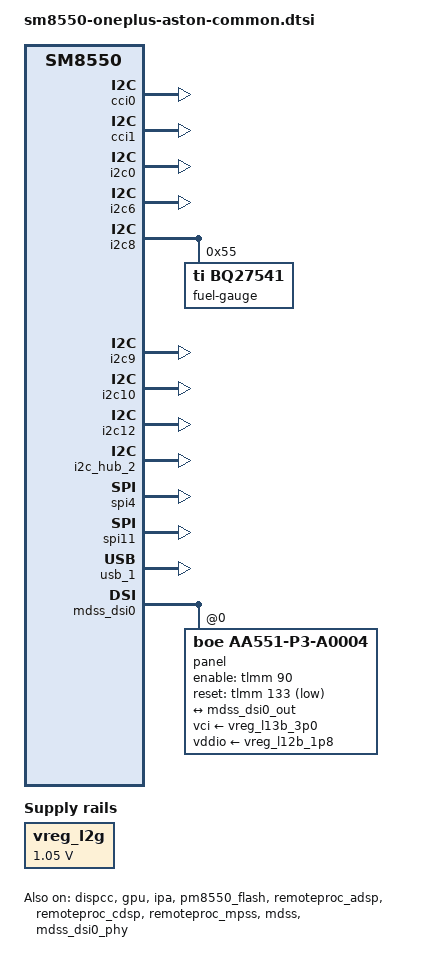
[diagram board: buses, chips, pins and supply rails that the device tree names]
// SPDX-License-Identifier: BSD-3-Clause
/*
 * Copyright (c) 2026, inferno0230 <mail@inferno0230.in>
 */

#include "sm8550-oneplus-common.dtsi"

/ {
	compatible = "oneplus,aston", "qcom,sm8550";
};

&dispcc {
	status = "okay";
};

&gpu {
	status = "okay";
};

&gpu_zap_shader {
	firmware-name = "qcom/sm8550/OnePlus/aston/a740_zap.mbn";
};

&cci0 {
	status = "okay";
};

&cci0_i2c0 {
	/* Main camera: Sony IMX890, EEPROM, actuator and BU63169 OIS */
};

&cci0_i2c1 {
	/* Ultra-wide camera: Sony IMX355 and EEPROM */
};

&cci1 {
	/* Master 1: Samsung S5K3P9 front camera and EEPROM on the unmodelled AON CCI bus */
	status = "okay";
};

&cci1_i2c0 {
	/* Macro camera: OmniVision OV02B and EEPROM */
};

&i2c0 {
	/* NXP SN220T/SN220U NFC controller @ 0x28 */
	status = "okay";
};

&i2c6 {
	/* NXP TFA9874 speaker amplifier (Top speaker) @ 0x34 */
	/* NXP TFA9874 speaker amplifier (Bottom speaker) @ 0x35 */
	status = "okay";
};

&i2c8 {
	status = "okay";

	fuel-gauge@55 {
		compatible = "ti,bq27541";
		reg = <0x55>;
	};
};

&i2c9 {
	/* AKM AK09970 three-axis Hall sensor for the 
     * Alert Slider @ 0x10 */
	status = "okay";
};

&i2c10 {
	/* Pixelworks iris display processor @ 0x26, 0x22 */
	status = "okay";
};

&i2c12 {
	/* Southchip SC8517 charge pump @ 0x69 */
	status = "okay";
};

&i2c_hub_2 {
	/* Richwave RTC6226 FM receiver @ 0x64 */
	status = "okay";
};

&ipa {
	qcom,gsi-loader = "self";
	memory-region = <&ipa_fw_mem>;
	firmware-name = "qcom/sm8550/OnePlus/aston/ipa_fws.mbn";
	status = "okay";
};

&pcieport0 {
	wifi@0 {
		status = "disabled";
	};
};

&pm8550_flash {
	status = "okay";

	led-0 {
		function = LED_FUNCTION_FLASH;
		color = <LED_COLOR_ID_WHITE>;
		led-sources = <1>, <4>;
		led-max-microamp = <500000>;
		flash-max-microamp = <1000000>;
		flash-max-timeout-us = <1280000>;
		function-enumerator = <0>;
	};
};

&remoteproc_adsp {
	firmware-name = "qcom/sm8550/OnePlus/aston/adsp.mbn",
			"qcom/sm8550/OnePlus/aston/adsp_dtb.mbn";
	status = "okay";
};

&remoteproc_cdsp {
	firmware-name = "qcom/sm8550/OnePlus/aston/cdsp.mbn",
			"qcom/sm8550/OnePlus/aston/cdsp_dtb.mbn";
	status = "okay";
};

&remoteproc_mpss {
	firmware-name = "qcom/sm8550/OnePlus/aston/modem.mbn",
			"qcom/sm8550/OnePlus/aston/modem_dtb.mbn";
	status = "okay";
};

&spi4 {
	/* Synaptics S3910 HBP touchscreen */
	status = "okay";
};

&spi11 {
	/* Kookong consumer IR controller */
	status = "okay";
};

&usb_1 {
	/* Only USB2.0 is supported. */
	maximum-speed = "high-speed";
	phy-names = "usb2-phy";
	qcom,select-utmi-as-pipe-clk;

	status = "okay";
};

&usb_dp_qmpphy {
	status = "disabled";
};

&mdss {
	status = "okay";
};

&mdss_dsi0 {
	status = "okay";

	panel@0 {
		compatible = "boe,aa551-p3-a0004";
		reg = <0>;

		pinctrl-0 = <&sde_dsi_active>, <&sde_te>;
		pinctrl-1 = <&sde_dsi_suspend>, <&sde_te>;
		pinctrl-names = "default", "sleep";

		enable-gpios = <&tlmm 90 GPIO_ACTIVE_HIGH>;
		reset-gpios = <&tlmm 133 GPIO_ACTIVE_LOW>;

		vci-supply = <&vreg_l13b_3p0>;
		vddio-supply = <&vreg_l12b_1p8>;

		port {
			panel_in: endpoint {
				remote-endpoint = <&mdss_dsi0_out>;
			};
		};
	};
};

&mdss_dsi0_out {
	remote-endpoint = <&panel_in>;
};

&mdss_dsi0_phy {
	status = "okay";
};

&tlmm {
	sde_dsi_active: sde-dsi-active-state {
		pins = "gpio133";
		function = "gpio";
		drive-strength = <8>;
		bias-disable;
	};

	sde_dsi_suspend: sde-dsi-suspend-state {
		pins = "gpio133";
		function = "gpio";
		drive-strength = <2>;
		bias-pull-down;
	};

	sde_te: sde-te-state {
		pins = "gpio86";
		function = "mdp_vsync";
		drive-strength = <2>;
		bias-pull-down;
	};
};

&vreg_l2g {
    regulator-name = "vreg_l2g_1p05";
    regulator-min-microvolt = <1050000>;
};
